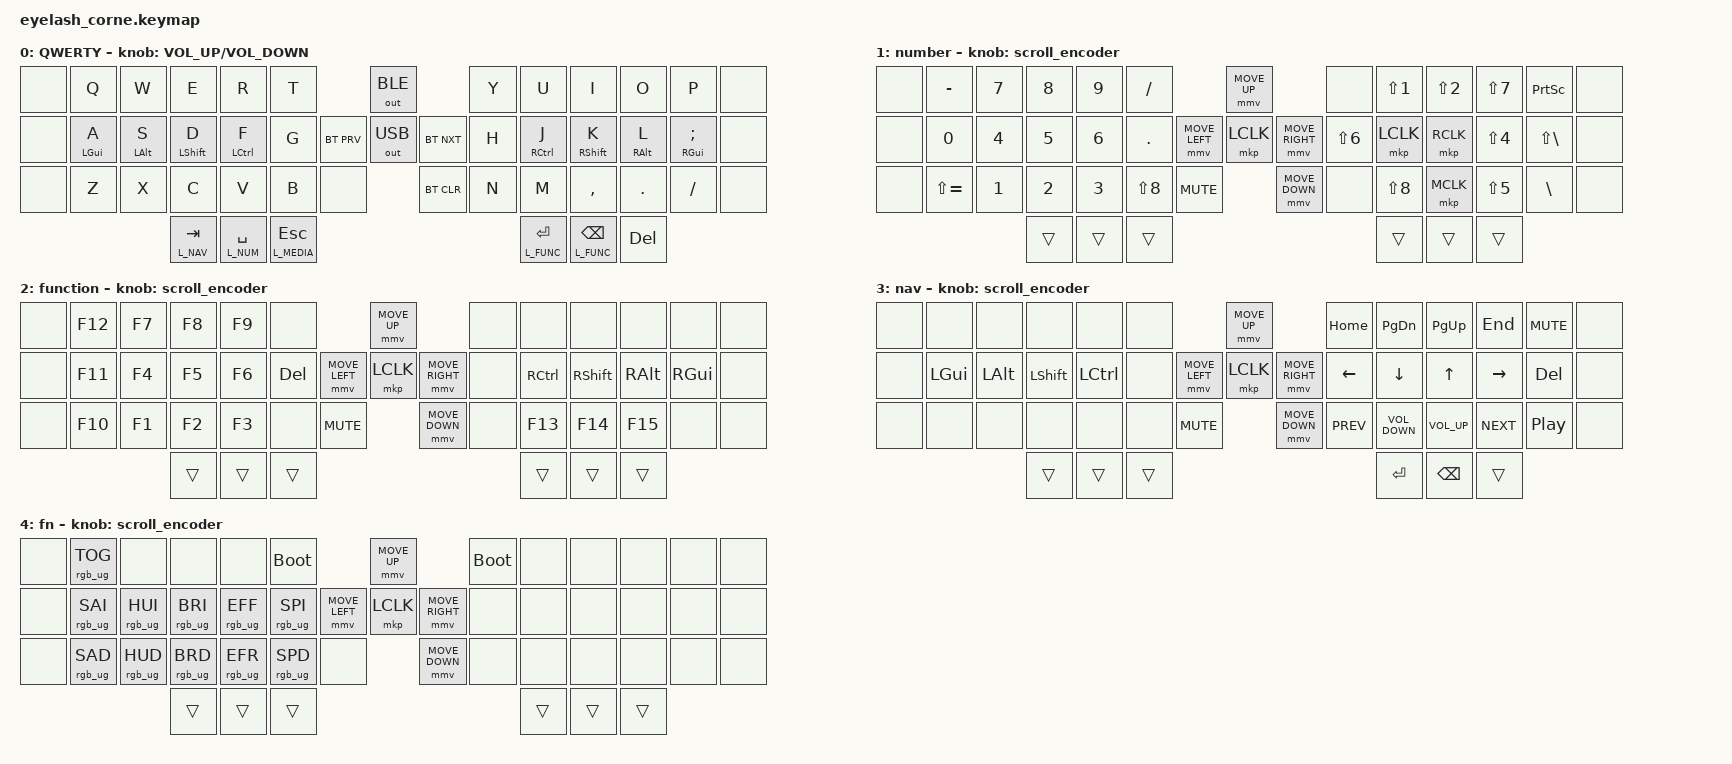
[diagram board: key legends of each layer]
#define ZMK_POINTING_DEFAULT_MOVE_VAL 1200  // 600
#define ZMK_POINTING_DEFAULT_SCRL_VAL 25   // 10

#include <input/processors.dtsi>
#include <zephyr/dt-bindings/input/input-event-codes.h>
#include <behaviors.dtsi>
#include <dt-bindings/zmk/bt.h>
#include <dt-bindings/zmk/keys.h>
#include <dt-bindings/zmk/outputs.h>
#include <dt-bindings/zmk/pointing.h>
#include <dt-bindings/zmk/rgb.h>

#define L_BASE  0
#define L_NUM   1
#define L_FUNC  2
#define L_NAV   3
#define L_MEDIA 4

&mmv_input_listener { input-processors = <&zip_xy_scaler 2 1>; };

&msc_input_listener { input-processors = <&zip_scroll_scaler 2 1>; };

&msc {
    acceleration-exponent = <1>;      // 0
    time-to-max-speed-ms = <100>;       // 300
    delay-ms = <0>;                   // 0
};

&mmv {
    time-to-max-speed-ms = <500>;
    acceleration-exponent = <1>;
    trigger-period-ms = <16>;
};

/ {
    behaviors {
        td0: td0 {
            compatible = "zmk,behavior-tap-dance";
            display-name = "Shift/Caps Lock Tap Dance";
            #binding-cells = <0>;
            bindings = <&kp LEFT_SHIFT>, <&kp CAPS>;
        };

        hml: hml {
            compatible = "zmk,behavior-hold-tap";
            label = "HML";
            bindings = <&kp>, <&kp>;

            #binding-cells = <2>;
            tapping-term-ms = <200>;
            quick-tap-ms = <175>;
            require-prior-idle-ms = <150>;
            flavor = "tap-preferred";
        };

        hmr: hmr {
            compatible = "zmk,behavior-hold-tap";
            label = "HMR";
            bindings = <&kp>, <&kp>;

            #binding-cells = <2>;
            tapping-term-ms = <200>;
            quick-tap-ms = <175>;
            require-prior-idle-ms = <150>;
            flavor = "tap-preferred";
        };

        ltf: ltf {
            compatible = "zmk,behavior-hold-tap";
            label = "LTF";
            bindings = <&mo>, <&kp>;

            #binding-cells = <2>;
            tapping-term-ms = <200>;
            quick-tap-ms = <175>;
            flavor = "tap-preferred";
        };
    };

    rgb_encoder: rgb_encoder {
        compatible = "zmk,behavior-sensor-rotate";
        #sensor-binding-cells = <0>;
        bindings = <&rgb_ug RGB_BRI>, <&rgb_ug RGB_BRD>;
    };

    scroll_encoder: scroll_encoder {
        compatible = "zmk,behavior-sensor-rotate";
        #sensor-binding-cells = <0>;
        bindings = <&msc SCRL_DOWN>, <&msc SCRL_UP>;

        tap-ms = <100>;
    };

    combos {
        compatible = "zmk,combos";

        copy {
            bindings = <&kp LG(C)>;
            key-positions = <30 31>;
        };

        cut {
            bindings = <&kp LG(X)>;
            key-positions = <30 32>;
        };

        paste {
            bindings = <&kp LG(V)>;
            key-positions = <31 32>;
        };

        lpar {
            bindings = <&kp LS(N9)>;
            key-positions = <16 17>;
        };

        rpar {
            bindings = <&kp LS(N0)>;
            key-positions = <23 24>;
        };

        lsbrc {
            bindings = <&kp LBKT>;
            key-positions = <15 16>;
        };

        rsbrc {
            bindings = <&kp RBKT>;
            key-positions = <24 25>;
        };

        lcbrc {
            bindings = <&kp LBRC>;
            key-positions = <15 17>;
        };

        rcbrc {
            bindings = <&kp RBRC>;
            key-positions = <23 25>;
        };

        minus {
            bindings = <&kp MINUS>;
            key-positions = <8 9>;
        };

        equal {
            bindings = <&kp EQUAL>;
            key-positions = <9 10>;
        };

        plus {
            bindings = <&kp PLUS>;
            key-positions = <8 10>;
        };

        dqt {
            bindings = <&kp DQT>;
            key-positions = <37 38>;
        };

        sqt {
            bindings = <&kp SQT>;
            key-positions = <38 39>;
        };

        under {
            bindings = <&kp UNDER>;
            key-positions = <37 39>;
        };

        tilde {
            bindings = <&kp TILDE>;
            key-positions = <2 3>;
        };

        hash {
            bindings = <&kp HASH>;
            key-positions = <2 4>;
        };

        grv {
            bindings = <&kp GRAVE>;
            key-positions = <4 3>;
        };
    };

    keymap {
        compatible = "zmk,keymap";

        default_layer {
            display-name = "QWERTY";
            bindings = <
&none  &kp Q            &kp W            &kp E              &kp R         &kp T                           &out OUT_BLE              &kp Y        &kp U         &kp I          &kp O             &kp P                &none
&none  &hml LEFT_GUI A  &hml LEFT_ALT S  &hml LEFT_SHIFT D  &hml LCTRL F  &kp G               &bt BT_PRV  &out OUT_USB  &bt BT_NXT  &kp H        &hmr RCTRL J  &hmr RSHIFT K  &hmr RIGHT_ALT L  &hmr RIGHT_GUI SEMI  &none
&none  &kp Z            &kp X            &kp C              &kp V         &kp B      &none                &bt BT_CLR                &kp N        &kp M         &kp COMMA      &kp DOT           &kp FSLH             &none
                                         &lt L_NAV TAB      &ltf L_NUM SPACE  &lt L_MEDIA ESC                                         &lt L_FUNC ENTER  &ltf L_FUNC BSPC  &kp DEL
            >;

            sensor-bindings = <&inc_dec_kp C_VOLUME_UP C_VOLUME_DOWN>;
        };

        layer_1 {
            display-name = "number";
            bindings = <
&none  &kp MINUS      &kp N7  &kp N8  &kp N9  &kp FSLH                                  &mmv MOVE_UP                     &none       &kp LS(N1)  &kp LS(N2)  &kp LS(N7)  &kp PRINTSCREEN  &none
&none  &kp N0         &kp N4  &kp N5  &kp N6  &kp DOT                   &mmv MOVE_LEFT  &mkp LCLK       &mmv MOVE_RIGHT  &kp LS(N6)  &mkp LCLK   &mkp RCLK   &kp LS(N4)  &kp LS(BSLH)     &none
&none  &kp LS(EQUAL)  &kp N1  &kp N2  &kp N3  &kp LS(N8)  &kp C_MUTE                    &mmv MOVE_DOWN                   &none       &kp LS(N8)  &mkp MCLK   &kp LS(N5)  &kp BSLH         &none
                              &trans  &trans  &trans                                                                     &trans      &trans      &trans
            >;

            sensor-bindings = <&scroll_encoder>;
        };

        layer_2 {
            display-name = "function";
            bindings = <
&none  &kp F12  &kp F7  &kp F8  &kp F9  &none                                     &mmv MOVE_UP                     &none   &none      &none      &none     &none     &none
&none  &kp F11  &kp F4  &kp F5  &kp F6  &kp DELETE                &mmv MOVE_LEFT  &mkp LCLK       &mmv MOVE_RIGHT  &none   &kp RCTRL  &kp RSHFT  &kp RALT  &kp RGUI  &none
&none  &kp F10  &kp F1  &kp F2  &kp F3  &none       &kp C_MUTE                    &mmv MOVE_DOWN                   &none   &kp F13    &kp F14    &kp F15   &none     &none
                        &trans  &trans  &trans                                                                     &trans  &trans     &trans
            >;

            sensor-bindings = <&scroll_encoder>;
        };

        layer_3 {
            display-name = "nav";
            bindings = <
&none  &none     &none     &none      &none      &none                                 &mmv MOVE_UP                     &kp HOME    &kp PAGE_DOWN      &kp PG_UP        &kp END     &kp C_MUTE        &none
&none  &kp LGUI  &kp LALT  &kp LSHFT  &kp LCTRL  &none                 &mmv MOVE_LEFT  &mkp LCLK       &mmv MOVE_RIGHT  &kp LEFT    &kp DOWN           &kp UP           &kp RIGHT   &kp DELETE        &none
&none  &none     &none     &none      &none      &none   &kp C_MUTE                    &mmv MOVE_DOWN                   &kp C_PREV  &kp C_VOLUME_DOWN  &kp C_VOLUME_UP  &kp C_NEXT  &kp C_PLAY_PAUSE  &none
                           &trans     &trans     &trans                                                                 &kp ENTER   &kp BSPC           &trans
            >;

            sensor-bindings = <&scroll_encoder>;
        };

        layer_4 {
            bindings = <
&none  &rgb_ug RGB_TOG  &none            &none            &none            &bootloader                               &mmv MOVE_UP                     &bootloader  &none   &none   &none  &none  &none
&none  &rgb_ug RGB_SAI  &rgb_ug RGB_HUI  &rgb_ug RGB_BRI  &rgb_ug RGB_EFF  &rgb_ug RGB_SPI           &mmv MOVE_LEFT  &mkp LCLK       &mmv MOVE_RIGHT  &none        &none   &none   &none  &none  &none
&none  &rgb_ug RGB_SAD  &rgb_ug RGB_HUD  &rgb_ug RGB_BRD  &rgb_ug RGB_EFR  &rgb_ug RGB_SPD  &none                    &mmv MOVE_DOWN                   &none        &none   &none   &none  &none  &none
                                         &trans           &trans           &trans                                                                     &trans       &trans  &trans
            >;

            sensor-bindings = <&scroll_encoder>;
            label = "fn";
        };
    };
};
